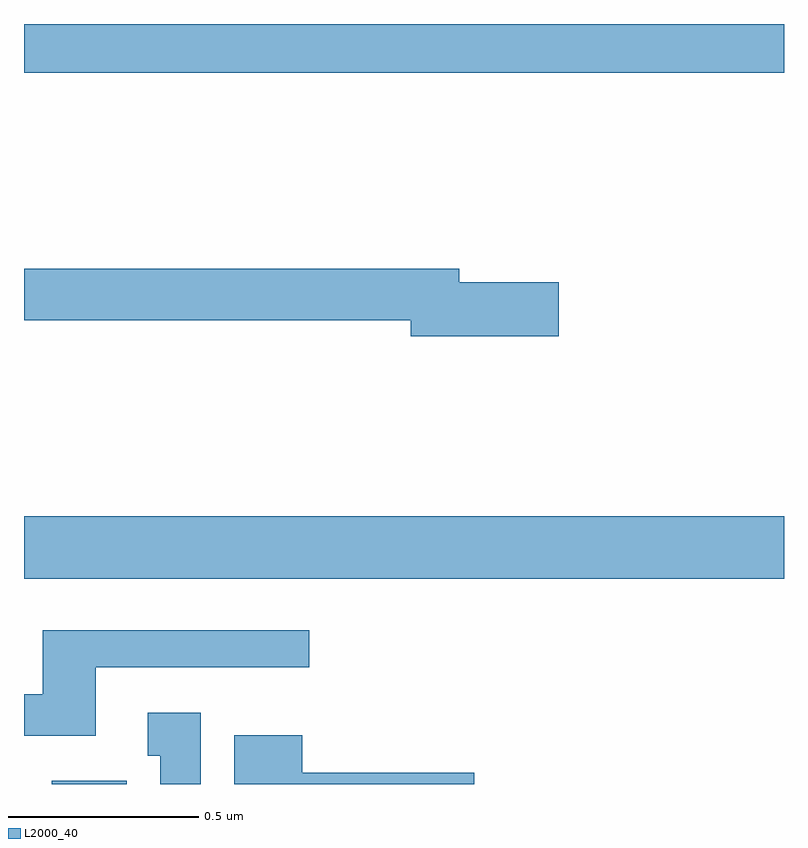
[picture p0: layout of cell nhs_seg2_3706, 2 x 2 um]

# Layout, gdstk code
import gdstk
lib = gdstk.Library(unit=1e-6, precision=1e-09)
def R(c, l, rs):  # rectangles x0, y0, x1, y1
    for r in rs: c.add(gdstk.rectangle(r[:2], r[2:], *l))
def P(c, l, *ps):  # polygons
    for p in ps: c.add(gdstk.Polygon(p, *l))
L2000_40 = (2000, 40)

nhs_seg2_3706 = lib.new_cell('nhs_seg2_3706')
R(nhs_seg2_3706, L2000_40, [(157.073,609.8,157.27,609.808), (157,610.34,159,610.504), (157,611.672,159,611.8)])
P(nhs_seg2_3706, L2000_40, [(158.407,611.12),(158.146,611.12),(158.146,611.156),(157,611.156),(157,611.02),(158.018,611.02),(158.018,610.978),(158.407,610.978)],
  [(157.189,610.107),(157.75,610.107),(157.75,610.204),(157.049,610.204),(157.049,610.036),(157,610.036),(157,609.927),(157.189,609.927)],
  [(157.465,609.988),(157.325,609.988),(157.325,609.875),(157.358,609.875),(157.358,609.8),(157.465,609.8)],
  [(158.185,609.83),(157.732,609.83),(157.732,609.928),(157.553,609.928),(157.553,609.8),(158.185,609.8)])

lib.write_gds('nhs_seg2_3706.gds')
